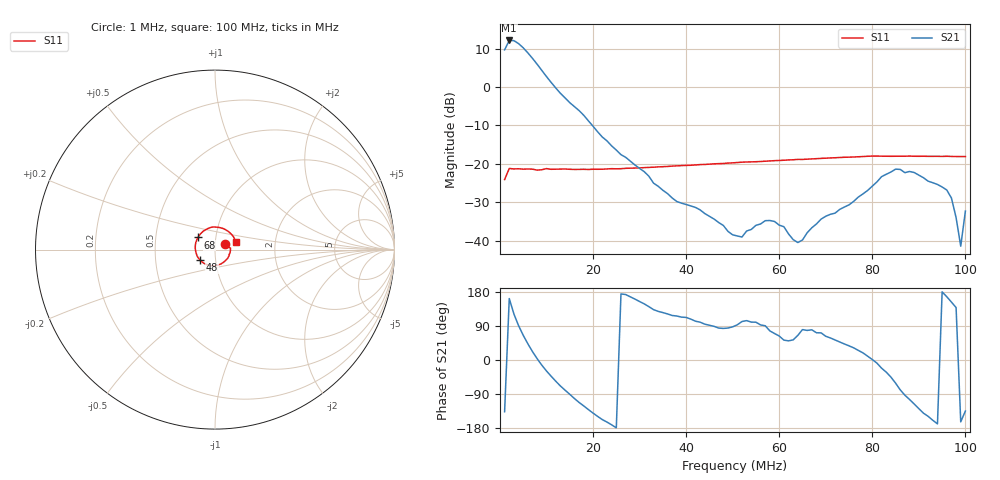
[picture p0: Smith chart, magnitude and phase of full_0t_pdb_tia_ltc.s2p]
# HZ S RI R 50
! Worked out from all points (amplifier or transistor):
!   100 points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, 1 MHz to 100 MHz, reference 50 ohm
!   highest |S21| = 12.1 dB at 2 MHz (marker M1)
!   |S21| within 3 dB of that: start of sweep to 5.822 MHz
!   S11 on the Smith chart (normalised r, x): 1 MHz: 1.12, +0.06; 48 MHz: 0.84, -0.10; 68 MHz: 0.82, +0.11; 100 MHz: 1.26, +0.11
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1000001  0.0554 0.0287  -2.205 -2.09  0 0  0 0
2000001  0.0866 0.00804  -3.832 1.237  0 0  0 0
3000001  0.0858 0.000784  -2.088 3.417  0 0  0 0
4000001  0.0859 -0.00641  -0.0451 3.665  0 0  0 0
5000001  0.0841 -0.0135  1.355 2.932  0 0  0 0
6000001  0.0837 -0.0183  2.04 1.879  0 0  0 0
7000001  0.0821 -0.0228  2.179 0.8809  0 0  0 0
8000001  0.0782 -0.027  1.969 0.1143  0 0  0 0
1e7  0.0789 -0.0357  1.193 -0.6623  0 0  0 0
1.3e7  0.0712 -0.0471  0.3004 -0.7694  0 0  0 0
1.8e7  0.0549 -0.0647  -0.2215 -0.3664  0 0  0 0
2.4e7  0.0332 -0.0798  -0.169 -0.0263  0 0  0 0
3.4e7  -0.0123 -0.0903  -0.0316 0.04  0 0  0 0
4.8e7  -0.0822 -0.0588  0.00184 0.0157  0 0  0 0
5.1e7  -0.0935 -0.0453  -0.000582 0.0115  0 0  0 0
6.4e7  -0.107 0.04  0.00399 0.00857  0 0  0 0
6.7e7  -0.0985 0.0608  0.00263 0.0145  0 0  0 0
6.8e7  -0.0949 0.0678  0.00513 0.0157  0 0  0 0
8.4e7  0.0154 0.1243  0.0552 -0.0554  0 0  0 0
9.6e7  0.1013 0.0738  -0.0444 0.0103  0 0  0 0
9.9e7  0.113 0.0516  -0.00812 -0.00245  0 0  0 0
1e8  0.1163 0.0437  -0.017 -0.0173  0 0  0 0
